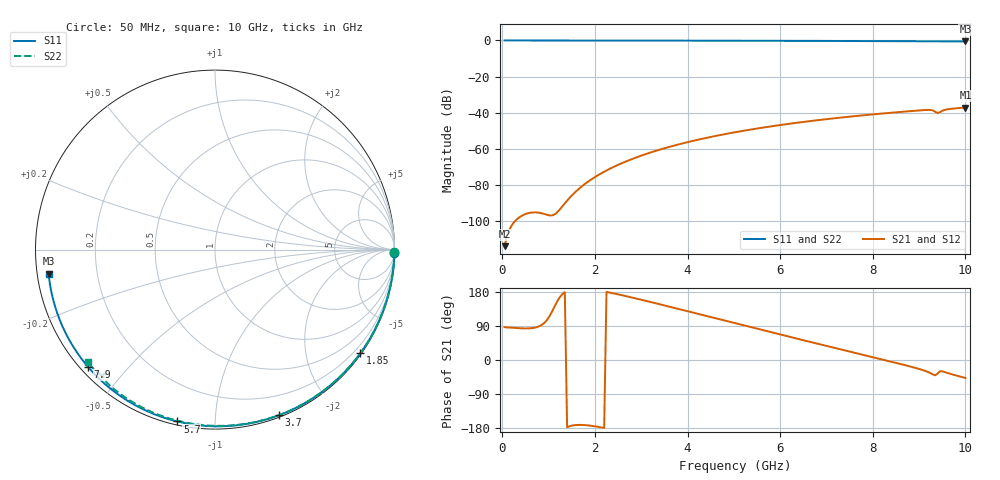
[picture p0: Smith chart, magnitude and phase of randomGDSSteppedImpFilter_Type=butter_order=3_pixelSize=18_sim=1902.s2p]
! freq	dB(S11)	phase(S11)	dB(S12)	phase(S12)
!  dB(S21)	phase(S21)	dB(S22)	phase(S22)
!S-par simulation data
#  GHz  S  DB  R 50
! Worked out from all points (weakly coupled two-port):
!   200 points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, 50 MHz to 10 GHz, reference 50 ohm
!   highest |S21| = -37.08 dB at 10 GHz (marker M1); lowest = -113.7 dB at 50 MHz (marker M2)
!   lowest |S11| = -0.6 dB at 10 GHz (marker M3), VSWR 30.51, Z = 1.65 - j3.59 ohm
!   |S11| at or under -10 dB: nowhere
!   |S22| runs from -0.7 to 0.0 dB; largest |S21 - S12| = 0
!   S11 on the Smith chart (normalised r, x): 50 MHz: open; 1.85 GHz: 0.03, -3.13; 3.7 GHz: 0.02, -1.46; 5.7 GHz: 0.02, -0.80; 7.9 GHz: 0.02, -0.39; 10 GHz: 0.03, -0.07
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0.05  -0.00 -1.0  -113.73 86.7  -113.73 86.7  -0.00 -0.8
0.85  -0.02 -16.5  -95.55 92.5  -95.55 92.5  -0.02 -13.6
1.75  -0.04 -33.6  -80.00 -171.5  -80.00 -171.5  -0.04 -27.7
1.85  -0.04 -35.4  -78.09 -172.5  -78.09 -172.5  -0.04 -29.3
2.15  -0.05 -41.0  -73.27 -178.1  -73.27 -178.1  -0.04 -33.9
2.5  -0.06 -47.5  -68.78 173.2  -68.78 173.2  -0.05 -39.3
2.9  -0.07 -54.7  -64.61 162.0  -64.61 162.0  -0.06 -45.3
3.4  -0.08 -63.6  -60.36 147.1  -60.36 147.1  -0.07 -52.7
3.7  -0.09 -68.9  -58.19 138.0  -58.19 138.0  -0.08 -57.1
4.35  -0.11 -80.1  -54.17 118.0  -54.17 118.0  -0.10 -66.5
5.05  -0.14 -91.8  -50.64 96.4  -50.64 96.4  -0.12 -76.2
5.7  -0.17 -102.4  -47.89 76.5  -47.89 76.5  -0.14 -85.0
6.7  -0.23 -118.4  -44.41 46.2  -44.41 46.2  -0.19 -98.2
7.3  -0.28 -127.8  -42.66 28.2  -42.66 28.2  -0.23 -105.8
7.9  -0.33 -137.3  -41.11 10.3  -41.11 10.3  -0.27 -113.3
8.35  -0.37 -144.5  -40.06 -3.1  -40.06 -3.1  -0.30 -118.9
9.2  -0.47 -158.2  -38.41 -32.0  -38.41 -32.0  -0.42 -129.9
9.3  -0.48 -159.9  -38.70 -38.2  -38.70 -38.2  -0.52 -131.4
9.4  -0.49 -161.5  -40.18 -35.7  -40.18 -35.7  -0.70 -131.4
9.5  -0.51 -163.2  -38.91 -29.9  -38.91 -29.9  -0.53 -131.9
9.6  -0.52 -164.9  -38.15 -33.7  -38.15 -33.7  -0.48 -133.3
10  -0.57 -171.8  -37.08 -47.3  -37.08 -47.3  -0.48 -138.6
